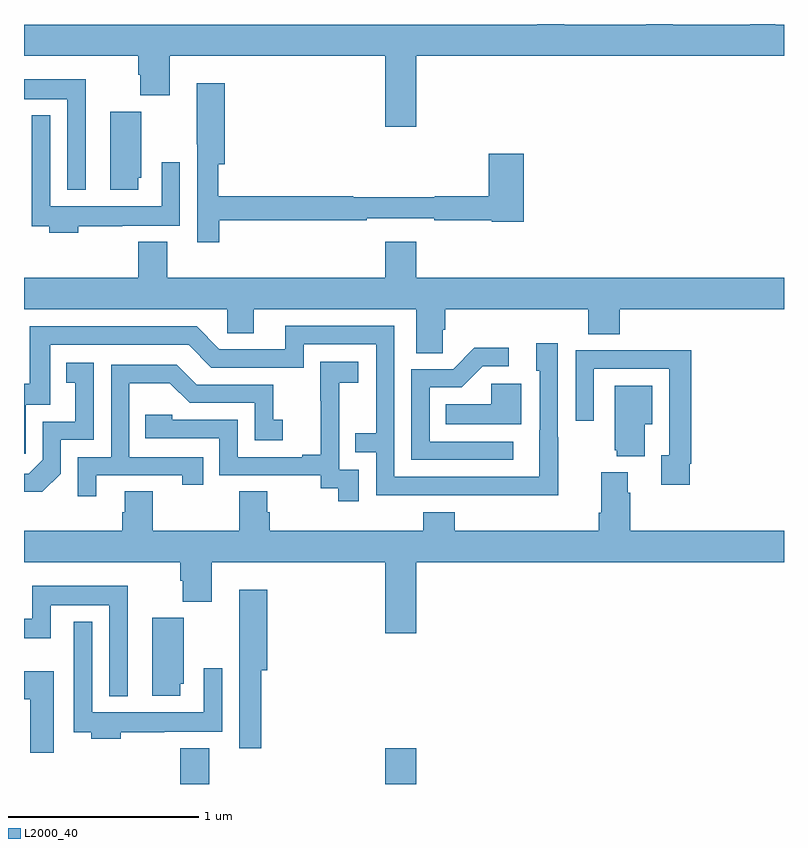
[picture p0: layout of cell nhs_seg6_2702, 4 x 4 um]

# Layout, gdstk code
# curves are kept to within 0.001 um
import gdstk
lib = gdstk.Library(unit=1e-6, precision=1e-09)
def R(c, l, rs):  # rectangles x0, y0, x1, y1
    for r in rs: c.add(gdstk.rectangle(r[:2], r[2:], *l))
def P(c, l, *ps):  # polygons
    for p in ps: c.add(gdstk.Polygon(p, *l))
L2000_40 = (2000, 40)

nhs_seg6_2702 = lib.new_cell('nhs_seg6_2702')
R(nhs_seg6_2702, L2000_40, [(271.823,947.5,271.975,947.689), (272.9,947.5,273.064,947.689)])
P(nhs_seg6_2702, L2000_40, [(271,951.332),(271.601,951.332),(271.601,951.233),(271.613,951.233),(271.613,951.124),(271.766,951.124),(271.766,951.332),(272.9,951.332),(272.9,950.958),(273.064,950.958),(273.064,951.332),(275,951.332),(275,951.496),(274.954,951.496),(274.954,951.5),(274.823,951.5),(274.823,951.496),(274.414,951.496),(274.414,951.5),(274.274,951.5),(274.274,951.496),(273.844,951.496),(273.844,951.5),(273.701,951.5),(273.701,951.496),(271,951.496)],
  [(271.324,951.208),(271,951.208),(271,951.104),(271.227,951.104),(271.227,950.627),(271.324,950.627)],
  [(272.027,950.466),(272.804,950.466),(272.804,950.478),(273.16,950.478),(273.16,950.466),(273.462,950.466),(273.462,950.458),(273.629,950.458),(273.629,950.818),(273.446,950.818),(273.446,950.594),(273.162,950.594),(273.162,950.587),(272.733,950.587),(272.733,950.594),(272.023,950.594),(272.023,950.762),(272.057,950.762),(272.057,951.187),(271.91,951.187),(271.91,950.866),(271.911,950.866),(271.911,950.352),(272.027,950.352)],
  [(271.6,950.691),(271.618,950.691),(271.618,951.039),(271.454,951.039),(271.454,950.628),(271.6,950.628)],
  [(271.286,950.436),(271.517,950.436),(271.517,950.438),(271.821,950.438),(271.821,950.773),(271.725,950.773),(271.725,950.542),(271.137,950.542),(271.137,951.019),(271.041,951.019),(271.041,950.436),(271.133,950.436),(271.133,950.402),(271.286,950.402)],
  [(273.204,949.891),(273.218,949.891),(273.218,950),(273.971,950),(273.971,949.867),(274.136,949.867),(274.136,950),(275,950),(275,950.164),(273.064,950.164),(273.064,950.353),(272.9,950.353),(272.9,950.164),(271.753,950.164),(271.753,950.353),(271.601,950.353),(271.601,950.164),(271,950.164),(271,950),(272.07,950),(272.07,949.873),(272.209,949.873),(272.209,950),(273.065,950),(273.065,949.768),(273.204,949.768)],
  [(273.813,949.325),(273.81,949.325),(273.81,949.819),(273.695,949.819),(273.695,949.674),(273.714,949.674),(273.713,949.116),(272.949,949.116),(272.949,949.911),(272.375,949.911),(272.375,949.788),(272.028,949.788),(271.908,949.908),(271.029,949.908),(271.029,949.606),(271,949.606),(271,949.239),(271.008,949.239),(271.008,949.497),(271.137,949.497),(271.137,949.812),(271.866,949.812),(271.986,949.692),(272.472,949.692),(272.472,949.815),(272.853,949.815),(272.853,949.346),(272.743,949.346),(272.743,949.245),(272.853,949.245),(272.853,949.02),(273.813,949.019)],
  [(273.574,949.302),(273.135,949.302),(273.135,949.587),(273.304,949.587),(273.415,949.698),(273.55,949.698),(273.55,949.796),(273.371,949.796),(273.258,949.683),(273.039,949.683),(273.039,949.206),(273.574,949.206)],
  [(274.504,949.186),(274.511,949.186),(274.511,949.784),(274.219,949.784),(274.219,949.782),(273.903,949.782),(273.903,949.413),(273.999,949.413),(273.999,949.686),(274.395,949.686),(274.395,949.23),(274.355,949.23),(274.355,949.074),(274.504,949.074)],
  [(272.763,949.155),(272.658,949.155),(272.658,949.385),(272.66,949.385),(272.66,949.613),(272.758,949.613),(272.758,949.723),(272.56,949.723),(272.56,949.517),(272.561,949.517),(272.561,949.234),(272.465,949.234),(272.465,949.221),(272.124,949.221),(272.124,949.416),(271.779,949.416),(271.779,949.443),(271.639,949.443),(271.639,949.32),(272.028,949.32),(272.028,949.125),(272.562,949.125),(272.562,949.057),(272.655,949.057),(272.655,948.987),(272.763,948.987)],
  [(271.194,949.134),(271.194,949.311),(271.368,949.311),(271.368,949.717),(271.222,949.717),(271.222,949.611),(271.271,949.611),(271.271,949.407),(271.098,949.407),(271.098,949.206),(271.026,949.134),(271,949.134),(271,949.037),(271.096,949.037)],
  [(271.381,949.125),(271.832,949.125),(271.832,949.074),(271.943,949.074),(271.943,949.221),(271.554,949.221),(271.554,949.61),(271.768,949.61),(271.872,949.506),(272.214,949.506),(272.214,949.308),(272.362,949.308),(272.362,949.417),(272.313,949.417),(272.313,949.602),(271.909,949.602),(271.804,949.707),(271.458,949.707),(271.458,949.221),(271.284,949.221),(271.284,949.014),(271.381,949.014)],
  [(273.616,949.606),(273.459,949.606),(273.459,949.498),(273.22,949.498),(273.22,949.394),(273.616,949.394)],
  [(274.267,949.394),(274.306,949.394),(274.306,949.597),(274.109,949.597),(274.109,949.257),(274.121,949.257),(274.121,949.226),(274.267,949.226)],
  [(273.064,948.668),(275,948.668),(275,948.832),(274.19,948.832),(274.19,949.034),(274.177,949.034),(274.177,949.141),(274.037,949.141),(274.037,948.928),(274.025,948.928),(274.025,948.832),(273.266,948.832),(273.266,948.931),(273.101,948.931),(273.101,948.832),(272.294,948.832),(272.294,948.93),(272.281,948.93),(272.281,949.04),(272.134,949.04),(272.134,948.832),(271.677,948.832),(271.677,949.04),(271.529,949.04),(271.529,948.93),(271.517,948.93),(271.517,948.832),(271,948.832),(271,948.668),(271.823,948.668),(271.823,948.569),(271.835,948.569),(271.835,948.46),(271.988,948.46),(271.988,948.668),(272.9,948.668),(272.9,948.294),(273.064,948.294)],
  [(271.546,948.544),(271.043,948.544),(271.043,948.37),(271,948.37),(271,948.266),(271.14,948.266),(271.14,948.44),(271.449,948.44),(271.449,947.963),(271.546,947.963)],
  [(272.249,948.098),(272.279,948.098),(272.279,948.523),(272.132,948.523),(272.132,948.202),(272.133,948.202),(272.133,947.688),(272.249,947.688)],
  [(271.822,948.027),(271.84,948.027),(271.84,948.375),(271.676,948.375),(271.676,947.964),(271.822,947.964)],
  [(271.508,947.772),(271.739,947.772),(271.739,947.774),(272.043,947.774),(272.043,948.109),(271.947,948.109),(271.947,947.878),(271.359,947.878),(271.359,948.355),(271.263,948.355),(271.263,947.772),(271.355,947.772),(271.355,947.738),(271.508,947.738)],
  [(271.156,948.094),(271,948.094),(271,947.947),(271.034,947.947),(271.034,947.664),(271.156,947.664)])

lib.write_gds('nhs_seg6_2702.gds')
